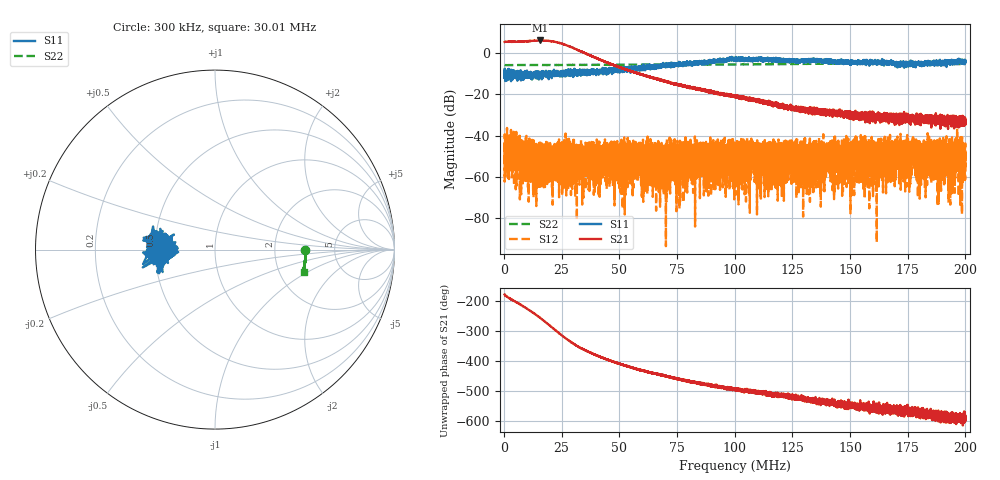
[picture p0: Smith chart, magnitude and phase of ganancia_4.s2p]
# Hz S DB R 50
! CMT, M5065, 19127446, 24.2.4/2
! Date: 10/29/2024 11:49:42 AM
! Data: Format (Calibration Info)
! Freq	S11:dB/Ang(F2)	S21:dB/Ang(F2)	S12:dB/Ang(F2)	S22:dB/Ang(F2)
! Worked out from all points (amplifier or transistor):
!   9000 points, 300 kHz to 200 MHz, reference 50 ohm
!   highest |S21| = 5.9 dB at 15.63 MHz (marker M1)
!   |S21| within 3 dB of that: start of sweep to 28.64 MHz
!   unconditionally stable (mu >= 1): start of sweep to end of sweep
!   at 33.59 MHz: K = 69.71, MAG = 2.4 dB, |S12| = -47.1 dB
!   at 100.2 MHz: K = 1083.66, MAG = -17.4 dB, |S12| = -53.4 dB
!   at 200 MHz: K = 2248.95, MAG = -28.2 dB, |S12| = -48.5 dB
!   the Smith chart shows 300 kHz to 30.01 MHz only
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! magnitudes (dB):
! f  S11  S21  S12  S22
! 300 kHz  -11.7  5.2  -46.7  -6.0
! 15.63 MHz  -10.7  5.9  -42.5  -5.9
! 33.59 MHz  -9.8  0.6  -47.1  -5.8
! 66.87 MHz  -6.6  -12.9  -42.6  -5.7
! 86.14 MHz  -4.1  -18.0  -46.8  -5.7
! 88.78 MHz  -4.3  -18.2  -49.1  -5.6
! 95.08 MHz  -4.3  -20.2  -45.7  -5.6
! 100.2 MHz  -3.4  -21.4  -53.4  -5.6
! 108 MHz  -2.9  -22.8  -56.2  -5.6
! 113.6 MHz  -3.4  -24.2  -51.7  -5.6
! 133.4 MHz  -4.2  -27.8  -49.6  -5.4
! 142 MHz  -4.2  -30.0  -46.3  -5.3
! 166.7 MHz  -5.0  -33.0  -56.6  -5.3
! 175.3 MHz  -4.6  -31.9  -58.8  -5.4
! 177.1 MHz  -4.0  -31.0  -50.5  -5.4
! 182.6 MHz  -5.4  -30.8  -50.7  -5.4
! 184.6 MHz  -5.6  -33.3  -53.3  -5.4
! 187.6 MHz  -4.7  -31.4  -46.4  -5.4
! 191.3 MHz  -5.2  -35.6  -57.7  -5.5
! 194.5 MHz  -4.2  -32.0  -60.7  -5.5
! 196.3 MHz  -5.1  -32.7  -56.5  -5.5
! 200 MHz  -4.0  -31.9  -48.5  -5.5
